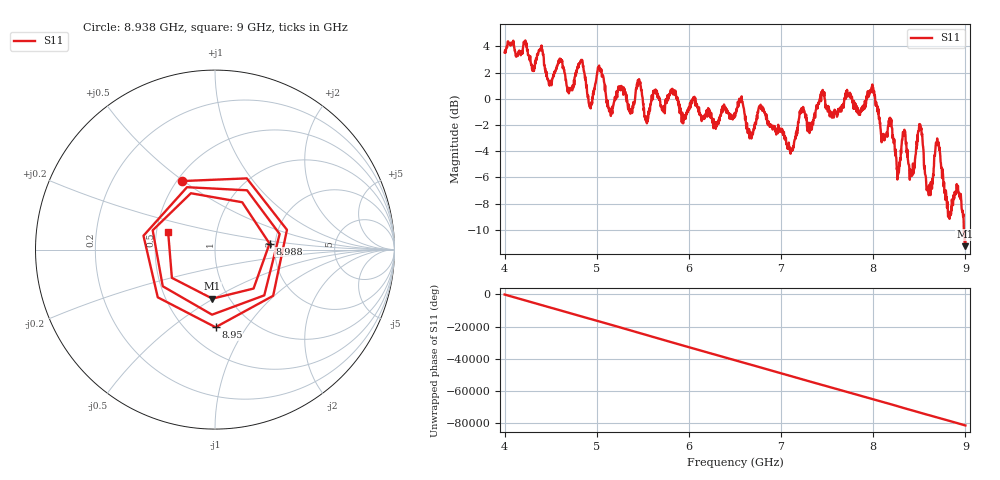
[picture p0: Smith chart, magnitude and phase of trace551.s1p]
! Created with skrf 1.8.0 (http://scikit-rf.org).
# Hz S RI R 50.0
!freq ReS11 ImS11
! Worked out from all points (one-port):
!   1601 points, 4 GHz to 9 GHz, reference 50 ohm
!   lowest |S11| = -11.3 dB at 8.994 GHz (marker M1), VSWR 1.75, Z = 41.9 - j24.8 ohm
!   |S11| at or under -10 dB: 8.982998 GHz to end of sweep
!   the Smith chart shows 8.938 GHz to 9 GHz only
!   S11 on the Smith chart (normalised r, x): 8.938 GHz: 0.53, +0.49; 8.95 GHz: 0.69, -0.73; 8.988 GHz: 1.87, +0.14; 9 GHz: 0.58, +0.12
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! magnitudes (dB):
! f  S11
! 4 GHz  3.5
! 4.625 GHz  2.9
! 4.709 GHz  0.8
! 4.838 GHz  2.9
! 4.925 GHz  -0.6
! 5.025 GHz  2.5
! 5.147 GHz  -0.9
! 5.25 GHz  0.9
! 5.362 GHz  -1.0
! 5.459 GHz  1.5
! 5.541 GHz  -1.6
! 5.875 GHz  0.0
! 6.5 GHz  -1.3
! 7.125 GHz  -3.9
! 7.225 GHz  -0.8
! 7.75 GHz  0.3
! 7.991 GHz  1.1
! 8.262 GHz  -6.2
! 8.375 GHz  -4.6
! 8.509 GHz  -2.0
! 8.597 GHz  -7.1
! 8.697 GHz  -3.3
! 8.819 GHz  -9.0
! 8.938 GHz  -7.4
! 8.95 GHz  -7.3
! 8.988 GHz  -10.3
! 8.994 GHz  -11.3
! 9 GHz  -11.1
